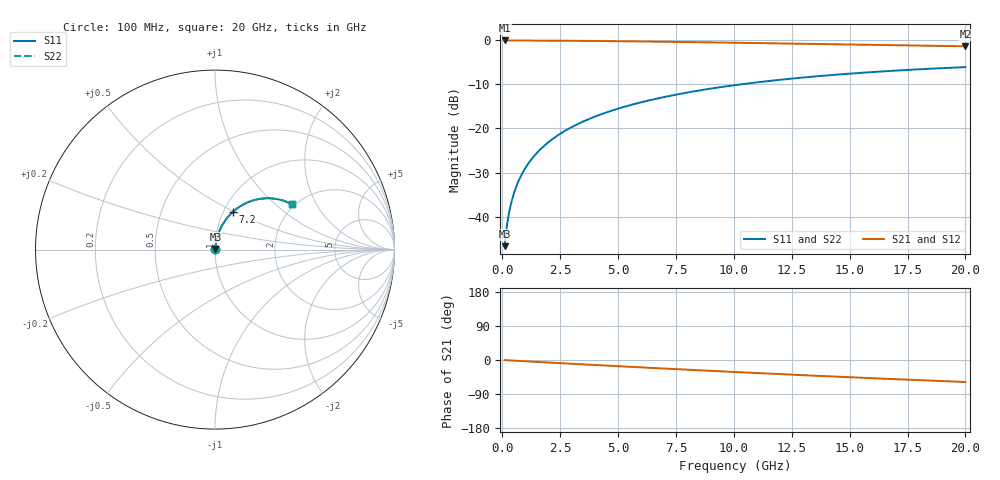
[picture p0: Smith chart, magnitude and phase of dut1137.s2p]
! Touchstone file exported from HFSS 2026.1.0
!  File:  C:/ffzhzh/LocalFiles/Ansys_Project_Files/temp_train_TMRDL_1137_1783161881_18472.aedt
!  Generated:  06:46:06 PM Jul  4, 2026
!  Design:  TMRDL
!  Project:  temp_train_TMRDL_1137_1783161881_18472
! Variables:
!  h_bsmrdl = 2um
!  h_ox = 20um
!  h_rdl = 5um
!  h_sub = 80um
!  h_tmrdl = 5.94um
!  h_tsv = 80um
!  h_via = 3um
!  l_bsmrdl = 300um
!  l_sub = 1307.19um
!  l_tmrdl = 907.19um
!  m_sub = 200um
!  pitch = 55.1um
!  r_tsv = 6um
!  s_tmrdl = 10um
!  w_bsmrdl = 18um
!  w_sub = 500um
!  w_tmrdl = 21.6um
!  x_tsv_center1 = 917.99um
!  x_tsv_center2 = 1235.99um
!  x_tsv_center3 = 2164.78um
!  x_tsv_center4 = 2482.78um
!  x_tsv_center5 = 3411.57um
!  x_tsv_center6 = 3729.57um
# GHz S MA R 50.000000
! Terminal data exported
! Port[1] = TM_RDL1_1_T1
! Port[2] = TM_RDL1_1_T2
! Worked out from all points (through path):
!   200 points, 100 MHz to 20 GHz, reference 50 ohm
!   highest |S21| = -0.02 dB at 100 MHz (marker M1); lowest = -1.4 dB at 20 GHz (marker M2)
!   group delay of S21, straight-line fit = 8.07 ps
!   lowest |S11| = -46.7 dB at 100 MHz (marker M3), VSWR 1.01, Z = 50.3 + j0.377 ohm
!   |S11| at or under -10 dB: start of sweep to 10.29 GHz
!   |S22| runs from -46.7 to -6.1 dB; largest |S21 - S12| = 1.7e-14
!   S11 on the Smith chart (normalised r, x): 100 MHz: 1.01, +0.01; 7.2 GHz: 1.11, +0.49; 20 GHz: 1.92, +1.29
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0.1  0.004612 54.4  0.9973 -0.3  0.9973 -0.3  0.004612 54.4
! Gamma 0 0 0 0
! Port Impedance 50 0 50 0
0.2  0.007939 68.4  0.9971 -0.7  0.9971 -0.7  0.007939 68.4
0.3  0.01137 73.7  0.997 -1.0  0.997 -1.0  0.01137 73.7
0.4  0.01481 76.5  0.9968 -1.4  0.9968 -1.4  0.01481 76.5
0.5  0.01826 78.2  0.9967 -1.7  0.9967 -1.7  0.01826 78.2
0.7  0.0252 79.9  0.9964 -2.4  0.9964 -2.4  0.0252 79.9
0.8  0.02867 80.4  0.9962 -2.7  0.9962 -2.7  0.02867 80.4
1  0.03562 80.8  0.9958 -3.4  0.9958 -3.4  0.03562 80.8
1.4  0.0495 80.7  0.9949 -4.7  0.9949 -4.7  0.0495 80.7
1.7  0.05984 80.3  0.994 -5.7  0.994 -5.7  0.05984 80.3
2  0.0701 79.6  0.993 -6.7  0.993 -6.7  0.0701 79.6
2.7  0.09372 77.8  0.9903 -9.0  0.9903 -9.0  0.09372 77.8
3.5  0.1201 75.5  0.9866 -11.6  0.9866 -11.6  0.1201 75.5
4.2  0.1426 73.4  0.9829 -13.8  0.9829 -13.8  0.1426 73.4
5  0.1678 71.0  0.9782 -16.4  0.9782 -16.4  0.1678 71.0
6.8  0.2219 65.7  0.9661 -22.0  0.9661 -22.0  0.2219 65.7
7.2  0.2335 64.6  0.9632 -23.2  0.9632 -23.2  0.2335 64.6
8.6  0.2725 60.5  0.9523 -27.4  0.9523 -27.4  0.2725 60.5
10.1  0.3116 56.3  0.9398 -31.8  0.9398 -31.8  0.3116 56.3
13.4  0.3873 47.2  0.9107 -41.2  0.9107 -41.2  0.3873 47.2
16.7  0.4488 38.7  0.882 -49.9  0.882 -49.9  0.4489 38.7
20  0.4969 30.6  0.856 -58.1  0.856 -58.1  0.497 30.6
